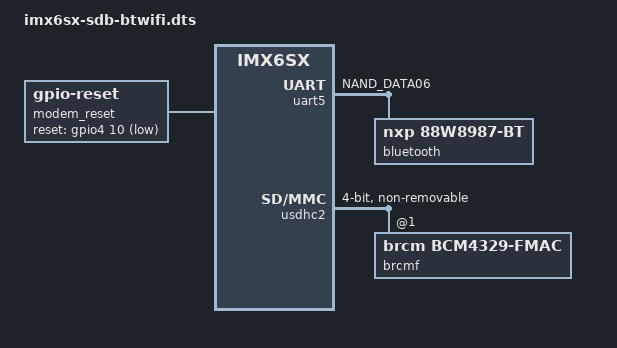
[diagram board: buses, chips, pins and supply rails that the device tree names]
/*
 * Copyright (C) 2015 Freescale Semiconductor, Inc.
 * Copyright 2019 NXP
 *
 * This program is free software; you can redistribute it and/or modify
 * it under the terms of the GNU General Public License version 2 as
 * published by the Free Software Foundation.
 */

/*
 * NOTE: This DTS file is wrote for plugging in Murata 1MW M.2
 * into SD2 slot by using Murata uSD-to-M.2 Adapter.
 *
 * By default, OOB IRQ is not enabled since i.MX6SX SDB board needs to rework.
 * How to enable OOB IRQ ?
 * HW rework:
 *	Install R328 on i.MX6SX SDB board.
 * SW change:
 *	pinctrl_wifi: wifigrp {
 *		fsl,pins = <
 *			MX6SX_PAD_ENET1_RX_CLK__GPIO2_IO_4      0x0b001
 *		>;
 *	};
 *	brcmf: bcrmf@1 {
 *		reg = <1>;
 *		compatible = "brcm,bcm4329-fmac";
 *		interrupt-parent = <&gpio2>;
 *		interrupts = <4 IRQ_TYPE_LEVEL_LOW>;
 *		interrupt-names = "host-wake";
 *	};
 */

#include "imx6sx-sdb.dts"

/ {
	modem_reset: modem-reset {
		compatible = "gpio-reset";
		reset-gpios = <&gpio4 10 GPIO_ACTIVE_LOW>;
		reset-delay-us = <1000>;
		#reset-cells = <0>;
	};

	usdhc2_pwrseq: usdhc2_pwrseq {
		compatible = "mmc-pwrseq-simple";
	};
};

&iomuxc {
	imx6sx-sdb-murata-wifibt {
		pinctrl_bt: btgrp {
			fsl,pins = <
				MX6SX_PAD_NAND_DATA06__GPIO4_IO_10	0x13069 /* BT_REG_ON */
			>;
		};

		pinctrl_wifi: wifigrp {
			fsl,pins = <
			>;
		};
	};
};

&uart5 { /* for bluetooth */
	pinctrl-0 = <&pinctrl_uart5 &pinctrl_bt>;
	resets = <&modem_reset>;

	bluetooth {
		compatible = "nxp,88w8987-bt";
	};
};


&usdhc2 {
	#address-cells = <1>;
	#size-cells = <0>;
	pinctrl-names = "default";
	pinctrl-0 = <&pinctrl_usdhc2 &pinctrl_wifi>;
	bus-width = <4>;
	no-1-8-v;	/* force 3.3V VIO */
	non-removable;
	mmc-pwrseq = <&usdhc2_pwrseq>;
	pm-ignore-notify;
	cap-power-off-card;
	/delete-property/ wakeup-source;
	status = "okay";

	brcmf: bcrmf@1 {
		reg = <1>;
		compatible = "brcm,bcm4329-fmac";
	};
};
